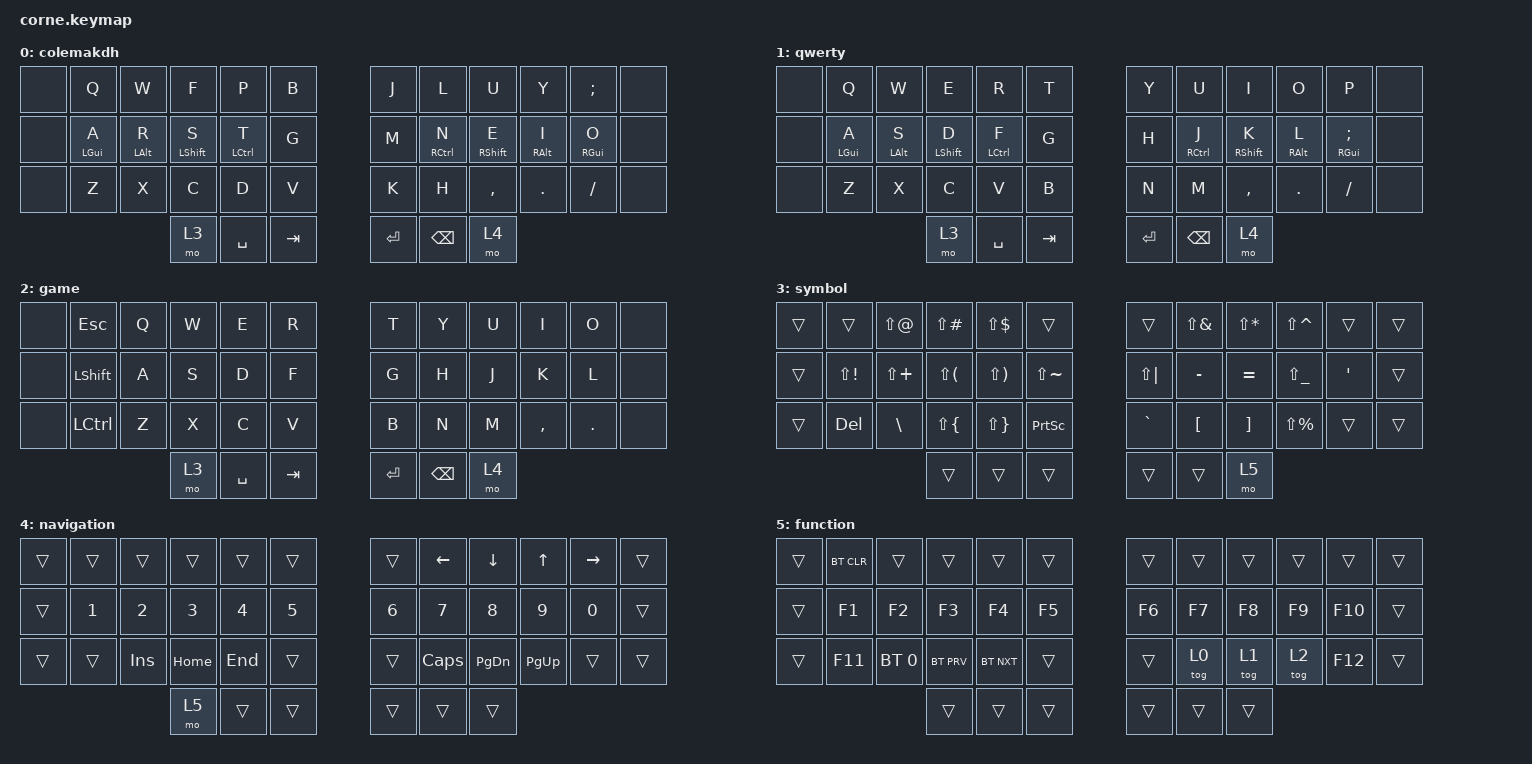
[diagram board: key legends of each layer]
/*
 * Copyright (c) 2020 The ZMK Contributors
 *
 * SPDX-License-Identifier: MIT
 */

#include <behaviors.dtsi>
#include <dt-bindings/zmk/bt.h>
#include <dt-bindings/zmk/keys.h>

&mt {
    tapping-term-ms = <175>;
    flavor = "tap-preferred";
};

/ {
    combos {
        compatible = "zmk,combos";

        escape {
            bindings = <&kp ESCAPE>;
            key-positions = <37 1>;
        };

        delete {
            bindings = <&kp DELETE>;
            key-positions = <37 25>;
        };
    };

    keymap {
        compatible = "zmk,keymap";

        colemakdh {
            // -----------------------------------------------------------------------------------------
            // |  TAB |  Q  |  W  |  E  |  R  |  T  |   |  Y  |  U   |  I  |  O  |  P  | BKSP |
            // | CTRL |  A  |  S  |  D  |  F  |  G  |   |  H  |  J   |  K  |  L  |  ;  |  '   |
            // | SHFT |  Z  |  X  |  C  |  V  |  B  |   |  N  |  M   |  ,  |  .  |  /  | ESC  |
            //                    | GUI | LWR | SPC |   | ENT | RSE  | ALT |

            bindings = <
&none  &kp Q           &kp W           &kp F             &kp P               &kp B      &kp J    &kp L                &kp U              &kp Y            &kp SEMICOLON    &none
&none  &mt LEFT_GUI A  &mt LEFT_ALT R  &mt LEFT_SHIFT S  &mt LEFT_CONTROL T  &kp G      &kp M    &mt RIGHT_CONTROL N  &mt RIGHT_SHIFT E  &mt RIGHT_ALT I  &mt RIGHT_GUI O  &none
&none  &kp Z           &kp X           &kp C             &kp D               &kp V      &kp K    &kp H                &kp COMMA          &kp DOT          &kp FSLH         &none
                                       &mo 3             &kp SPACE           &kp TAB    &kp RET  &kp BACKSPACE        &mo 4
            >;
        };

        qwerty {
            bindings = <
&none  &kp Q           &kp W           &kp E             &kp R               &kp T      &kp Y      &kp U                &kp I              &kp O            &kp P                    &none
&none  &mt LEFT_GUI A  &mt LEFT_ALT S  &mt LEFT_SHIFT D  &mt LEFT_CONTROL F  &kp G      &kp H      &mt RIGHT_CONTROL J  &mt RIGHT_SHIFT K  &mt RIGHT_ALT L  &mt RIGHT_GUI SEMICOLON  &none
&none  &kp Z           &kp X           &kp C             &kp V               &kp B      &kp N      &kp M                &kp COMMA          &kp DOT          &kp FSLH                 &none
                                       &mo 3             &kp SPACE           &kp TAB    &kp ENTER  &kp BACKSPACE        &mo 4
            >;
        };

        game {
            bindings = <
&none  &kp ESCAPE      &kp Q  &kp W  &kp E      &kp R      &kp T      &kp Y          &kp U  &kp I      &kp O       &none
&none  &kp LEFT_SHIFT  &kp A  &kp S  &kp D      &kp F      &kp G      &kp H          &kp J  &kp K      &kp L       &none
&none  &kp LCTRL       &kp Z  &kp X  &kp C      &kp V      &kp B      &kp N          &kp M  &kp COMMA  &kp PERIOD  &none
                              &mo 3  &kp SPACE  &kp TAB    &kp ENTER  &kp BACKSPACE  &mo 4
            >;
        };

        symbol {
            bindings = <
&trans  &trans        &kp LS(AT)    &kp LS(POUND)  &kp LS(DLLR)  &trans             &trans        &kp LS(AMPS)  &kp LS(STAR)  &kp LS(CARET)  &trans   &trans
&trans  &kp LS(EXCL)  &kp LS(PLUS)  &kp LS(LPAR)   &kp LS(RPAR)  &kp LS(TILDE)      &kp LS(PIPE)  &kp MINUS     &kp EQUAL     &kp LS(UNDER)  &kp SQT  &trans
&trans  &kp DEL       &kp BSLH      &kp LS(LBRC)   &kp LS(RBRC)  &kp PRINTSCREEN    &kp GRAVE     &kp LBKT      &kp RBKT      &kp LS(PRCNT)  &trans   &trans
                                    &trans         &trans        &trans             &trans        &trans        &mo 5
            >;
        };

        navigation {
            bindings = <
&trans  &trans  &trans      &trans    &trans   &trans    &trans  &kp LEFT_ARROW  &kp DOWN_ARROW  &kp UP_ARROW  &kp RIGHT_ARROW  &trans
&trans  &kp N1  &kp N2      &kp N3    &kp N4   &kp N5    &kp N6  &kp N7          &kp N8          &kp N9        &kp N0           &trans
&trans  &trans  &kp INSERT  &kp HOME  &kp END  &trans    &trans  &kp CAPSLOCK    &kp PAGE_DOWN   &kp PG_UP     &trans           &trans
                            &mo 5     &trans   &trans    &trans  &trans          &trans
            >;
        };

        function {
            bindings = <
&trans  &bt BT_CLR  &trans        &trans      &trans      &trans    &trans  &trans  &trans  &trans  &trans   &trans
&trans  &kp F1      &kp F2        &kp F3      &kp F4      &kp F5    &kp F6  &kp F7  &kp F8  &kp F9  &kp F10  &trans
&trans  &kp F11     &bt BT_SEL 0  &bt BT_PRV  &bt BT_NXT  &trans    &trans  &tog 0  &tog 1  &tog 2  &kp F12  &trans
                                  &trans      &trans      &trans    &trans  &trans  &trans
            >;
        };
    };
};
